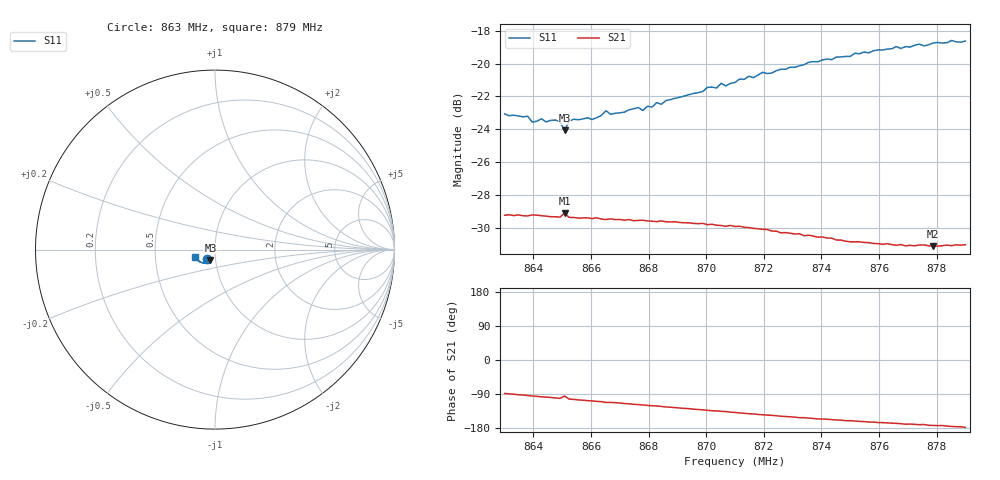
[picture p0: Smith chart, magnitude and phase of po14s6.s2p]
# HZ S RI R 50
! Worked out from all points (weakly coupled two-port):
!   101 points, 863 MHz to 879 MHz, reference 50 ohm
!   highest |S21| = -29.12 dB at 865.08 MHz (marker M1); lowest = -31.1 dB at 877.88 MHz (marker M2)
!   lowest |S11| = -24.1 dB at 865.08 MHz (marker M3), VSWR 1.13, Z = 47.2 - j5.41 ohm
!   |S11| at or under -10 dB: start of sweep to end of sweep
!   S12 and S22 are empty: the file has one direction only
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8.63e8  -0.0436 -0.0551  0.00103 -0.0345  0 0  0 0
8.638e8  -0.0409 -0.0557  -0.00221 -0.0343  0 0  0 0
8.6396e8  -0.0388 -0.0538  -0.003 -0.0344  0 0  0 0
8.6476e8  -0.0376 -0.0558  -0.00598 -0.0336  0 0  0 0
8.6492e8  -0.0362 -0.0559  -0.00662 -0.0334  0 0  0 0
8.6508e8  -0.0257 -0.0571  -0.00311 -0.0349  0 0  0 0
8.6524e8  -0.0362 -0.0561  -0.00769 -0.0331  0 0  0 0
8.6572e8  -0.0354 -0.0578  -0.00935 -0.0325  0 0  0 0
8.6604e8  -0.0343 -0.0582  -0.0104 -0.032  0 0  0 0
8.6652e8  -0.0373 -0.0614  -0.0125 -0.031  0 0  0 0
8.6668e8  -0.0353 -0.0605  -0.0126 -0.0312  0 0  0 0
8.6844e8  -0.0375 -0.0651  -0.0178 -0.0279  0 0  0 0
8.7004e8  -0.0438 -0.0724  -0.0219 -0.0237  0 0  0 0
8.7036e8  -0.0436 -0.0721  -0.0225 -0.023  0 0  0 0
8.7052e8  -0.047 -0.0733  -0.0229 -0.0225  0 0  0 0
8.7068e8  -0.0458 -0.0722  -0.023 -0.0222  0 0  0 0
8.71e8  -0.048 -0.0733  -0.0238 -0.0212  0 0  0 0
8.7196e8  -0.0557 -0.0759  -0.0254 -0.0181  0 0  0 0
8.7372e8  -0.0682 -0.0751  -0.0268 -0.0129  0 0  0 0
8.7644e8  -0.0925 -0.0613  -0.0273 -0.00646  0 0  0 0
8.7788e8  -0.1047 -0.0489  -0.0275 -0.00354  0 0  0 0
8.79e8  -0.1104 -0.0392  -0.028 -0.00108  0 0  0 0
